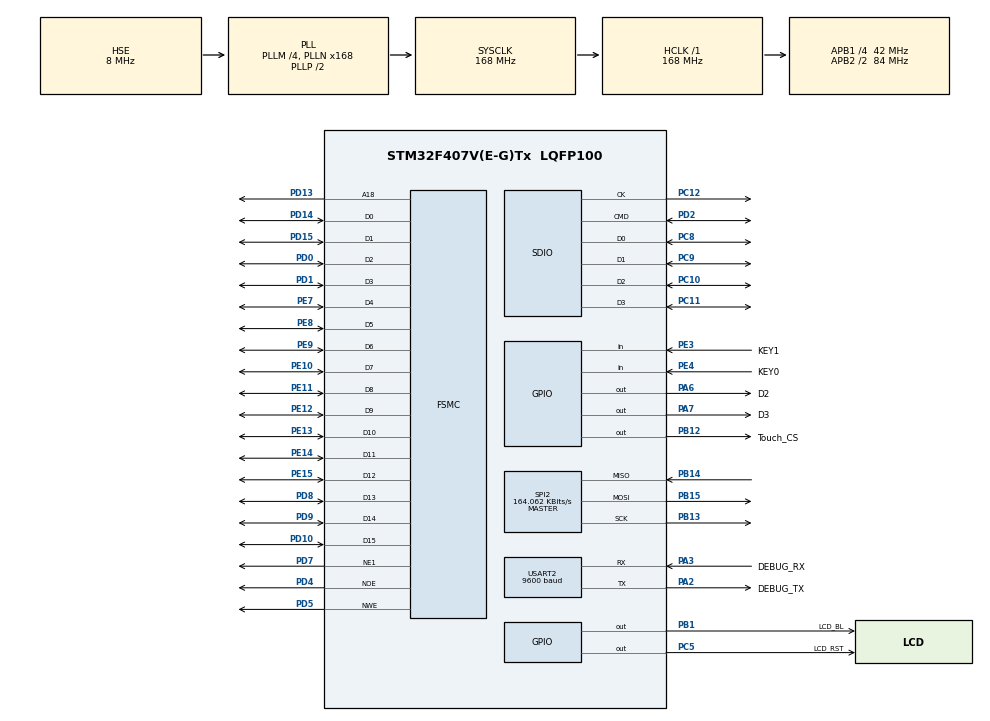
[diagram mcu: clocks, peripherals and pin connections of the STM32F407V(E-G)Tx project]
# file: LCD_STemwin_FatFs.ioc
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FATFS.USE_DMA_CODE_SD=0
FATFS._CODE_PAGE=936
FATFS._USE_FASTSEEK=0
FATFS._USE_FIND=0
FATFS._USE_LFN=2
FSMC.AddressSetupTime1=4
FSMC.BusTurnAroundDuration1=0
FSMC.DataSetupTime1=10
Mcu.Family=STM32F4
Mcu.Name=STM32F407V(E-G)Tx
Mcu.Package=LQFP100
NVIC.PriorityGroup=NVIC_PRIORITYGROUP_4
PA0-WKUP.Mode=SYS_WakeUp0
PA0-WKUP.Signal=SYS_WKUP
PA13.Mode=Serial_Wire
PA13.Signal=SYS_JTMS-SWDIO
PA14.Mode=Serial_Wire
PA14.Signal=SYS_JTCK-SWCLK
PA2.GPIO_Label=DEBUG_TX
PA2.Mode=Asynchronous
PA2.Signal=USART2_TX
PA3.GPIO_Label=DEBUG_RX
PA3.Mode=Asynchronous
PA3.Signal=USART2_RX
PA6.GPIO_Label=D2
PA6.GPIO_Speed=GPIO_SPEED_FREQ_VERY_HIGH
PA6.Signal=GPIO_Output
PA7.GPIO_Label=D3
PA7.GPIO_Speed=GPIO_SPEED_FREQ_VERY_HIGH
PA7.Signal=GPIO_Output
PB1.GPIO_Label=LCD_BL
PB1.GPIO_Speed=GPIO_SPEED_FREQ_VERY_HIGH
PB1.Signal=GPIO_Output
PB12.GPIO_Label=Touch_CS
PB12.GPIO_Speed=GPIO_SPEED_FREQ_VERY_HIGH
PB12.Signal=GPIO_Output
PB13.Mode=Full_Duplex_Master
PB13.Signal=SPI2_SCK
PB14.Mode=Full_Duplex_Master
PB14.Signal=SPI2_MISO
PB15.Mode=Full_Duplex_Master
PB15.Signal=SPI2_MOSI
PC10.Mode=SD_4_bits_Wide_bus
PC10.Signal=SDIO_D2
PC11.Mode=SD_4_bits_Wide_bus
PC11.Signal=SDIO_D3
PC12.Mode=SD_4_bits_Wide_bus
PC12.Signal=SDIO_CK
PC14-OSC32_IN.Mode=LSE-External-Oscillator
PC14-OSC32_IN.Signal=RCC_OSC32_IN
PC15-OSC32_OUT.Mode=LSE-External-Oscillator
PC15-OSC32_OUT.Signal=RCC_OSC32_OUT
PC5.GPIO_Label=LCD_RST
PC5.GPIO_Speed=GPIO_SPEED_FREQ_VERY_HIGH
PC5.Signal=GPIO_Output
PC8.Mode=SD_4_bits_Wide_bus
PC8.Signal=SDIO_D0
PC9.Mode=SD_4_bits_Wide_bus
PC9.Signal=SDIO_D1
PD0.Mode=16b-d1
PD0.Signal=FSMC_D2
PD1.Mode=16b-d1
PD1.Signal=FSMC_D3
PD10.Mode=16b-d1
PD10.Signal=FSMC_D15
PD13.Mode=A18_1
PD13.Signal=FSMC_A18
PD14.Mode=16b-d1
PD14.Signal=FSMC_D0
PD15.Mode=16b-d1
PD15.Signal=FSMC_D1
PD2.Mode=SD_4_bits_Wide_bus
PD2.Signal=SDIO_CMD
PD4.Mode=Lcd1
PD4.Signal=FSMC_NOE
PD5.Mode=Lcd1
PD5.Signal=FSMC_NWE
PD7.Mode=NorPsramChipSelect1_1
PD7.Signal=FSMC_NE1
PD8.Mode=16b-d1
PD8.Signal=FSMC_D13
PD9.Mode=16b-d1
PD9.Signal=FSMC_D14
PE10.Mode=16b-d1
PE10.Signal=FSMC_D7
PE11.Mode=16b-d1
PE11.Signal=FSMC_D8
PE12.Mode=16b-d1
PE12.Signal=FSMC_D9
PE13.Mode=16b-d1
PE13.Signal=FSMC_D10
PE14.Mode=16b-d1
PE14.Signal=FSMC_D11
PE15.Mode=16b-d1
PE15.Signal=FSMC_D12
PE3.GPIO_Label=KEY1
PE3.Signal=GPIO_Input
PE4.GPIO_Label=KEY0
PE4.Signal=GPIO_Input
PE7.Mode=16b-d1
PE7.Signal=FSMC_D4
PE8.Mode=16b-d1
PE8.Signal=FSMC_D5
PE9.Mode=16b-d1
PE9.Signal=FSMC_D6
PH0-OSC_IN.Mode=HSE-External-Oscillator
PH0-OSC_IN.Signal=RCC_OSC_IN
PH1-OSC_OUT.Mode=HSE-External-Oscillator
PH1-OSC_OUT.Signal=RCC_OSC_OUT
ProjectManager.HeapSize=0x1000
ProjectManager.StackSize=0x1200
ProjectManager.TargetToolchain=MDK-ARM V5
RCC.48MHZClocksFreq_Value=48000000
RCC.AHBFreq_Value=168000000
RCC.APB1CLKDivider=RCC_HCLK_DIV4
RCC.APB1Freq_Value=42000000
RCC.APB1TimFreq_Value=84000000
RCC.APB2CLKDivider=RCC_HCLK_DIV2
RCC.APB2Freq_Value=84000000
RCC.APB2TimFreq_Value=168000000
RCC.CortexFreq_Value=168000000
RCC.EnbaleCSS=true
RCC.HCLKFreq_Value=168000000
RCC.HSE_VALUE=8000000
RCC.HSI_VALUE=16000000
RCC.PLLM=4
RCC.PLLN=168
RCC.PLLQ=7
RCC.PLLSourceVirtual=RCC_PLLSOURCE_HSE
RCC.SYSCLKFreq_VALUE=168000000
RCC.SYSCLKSource=RCC_SYSCLKSOURCE_PLLCLK
RCC.VCOOutputFreq_Value=336000000
SPI2.BaudRatePrescaler=SPI_BAUDRATEPRESCALER_256
SPI2.CLKPhase=SPI_PHASE_1EDGE
SPI2.CLKPolarity=SPI_POLARITY_LOW
SPI2.CalculateBaudRate=164.062 KBits/s
SPI2.Direction=SPI_DIRECTION_2LINES
SPI2.Mode=SPI_MODE_MASTER
SPI2.VirtualType=VM_MASTER
USART2.BaudRate=9600
USART2.VirtualMode=VM_ASYNC
VP_CRC_VS_CRC.Mode=CRC_Activate
VP_FATFS_VS_SDIO.Mode=SDIO
VP_LIBJPEG_VS_JPEGLIB.Mode=Enabled
board=LCD_Drive

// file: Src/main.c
/**
  ******************************************************************************
  * @file           : main.c
  * @brief          : Main program body
  ******************************************************************************
  * This notice applies to any and all portions of this file
  * that are not between comment pairs USER CODE BEGIN and
  * USER CODE END. Other portions of this file, whether
  * inserted by the user or by software development tools
  * are owned by their respective copyright owners.
  *
  * Copyright (c) 2018 STMicroelectronics International N.V.
  * All rights reserved.
  *
  * Redistribution and use in source and binary forms, with or without
  * modification, are permitted, provided that the following conditions are met:
  *
  * 1. Redistribution of source code must retain the above copyright notice,
  *    this list of conditions and the following disclaimer.
  * 2. Redistributions in binary form must reproduce the above copyright notice,
  *    this list of conditions and the following disclaimer in the documentation
  *    and/or other materials provided with the distribution.
  * 3. Neither the name of STMicroelectronics nor the names of other
  *    contributors to this software may be used to endorse or promote products
  *    derived from this software without specific written permission.
  * 4. This software, including modifications and/or derivative works of this
  *    software, must execute solely and exclusively on microcontroller or
  *    microprocessor devices manufactured by or for STMicroelectronics.
  * 5. Redistribution and use of this software other than as permitted under
  *    this license is void and will automatically terminate your rights under
  *    this license.
  *
  * THIS SOFTWARE IS PROVIDED BY STMICROELECTRONICS AND CONTRIBUTORS "AS IS"
  * AND ANY EXPRESS, IMPLIED OR STATUTORY WARRANTIES, INCLUDING, BUT NOT
  * LIMITED TO, THE IMPLIED WARRANTIES OF MERCHANTABILITY, FITNESS FOR A
  * PARTICULAR PURPOSE AND NON-INFRINGEMENT OF THIRD PARTY INTELLECTUAL PROPERTY
  * RIGHTS ARE DISCLAIMED TO THE FULLEST EXTENT PERMITTED BY LAW. IN NO EVENT
  * SHALL STMICROELECTRONICS OR CONTRIBUTORS BE LIABLE FOR ANY DIRECT, INDIRECT,
  * INCIDENTAL, SPECIAL, EXEMPLARY, OR CONSEQUENTIAL DAMAGES (INCLUDING, BUT NOT
  * LIMITED TO, PROCUREMENT OF SUBSTITUTE GOODS OR SERVICES; LOSS OF USE, DATA,
  * OR PROFITS; OR BUSINESS INTERRUPTION) HOWEVER CAUSED AND ON ANY THEORY OF
  * LIABILITY, WHETHER IN CONTRACT, STRICT LIABILITY, OR TORT (INCLUDING
  * NEGLIGENCE OR OTHERWISE) ARISING IN ANY WAY OUT OF THE USE OF THIS SOFTWARE,
  * EVEN IF ADVISED OF THE POSSIBILITY OF SUCH DAMAGE.
  *
  ******************************************************************************
  */
#include "main.h"
#include "stm32f4xx_hal.h"
#include "fatfs.h"
#include "libjpeg.h"

/* USER CODE BEGIN Includes */
#include "GUI.h"
#include "DIALOG.h"
/* USER CODE END Includes */

CRC_HandleTypeDef hcrc;

SD_HandleTypeDef hsd;

SPI_HandleTypeDef hspi2;

UART_HandleTypeDef huart2;

SRAM_HandleTypeDef hsram1;

/* USER CODE BEGIN PV */
/* Private variables ---------------------------------------------------------*/
UINT bw;

GUI_FONT    MS_Light16;
GUI_XBF_DATA       MS_Light16_Data;
GUI_FONT    Song8;
GUI_XBF_DATA       Song8_Data;

GUI_HWIN Temp;

GUI_MOVIE_HANDLE hMovie;
int Play_res=0;
/* USER CODE END PV */

void SystemClock_Config(void);
static void MX_GPIO_Init(void);
void MX_USART2_UART_Init(void);
void MX_FSMC_Init(void);
void MX_CRC_Init(void);
void MX_SPI2_Init(void);
void MX_SDIO_SD_Init(void);

/* USER CODE BEGIN PFP */
/* Private function prototypes -----------------------------------------------*/
WM_HWIN CreateDeskTop(void);
WM_HWIN CalWindow(void);

static int _cbGetData(U32 Off, uint16_t NumBytes, void * pVoid, void * pBuffer) ;
int _GetData(void * p, const uint8_t ** ppData, unsigned NumBytes, U32 Off);
void _cbNotify(GUI_MOVIE_HANDLE hMovie, int Notification, U32 CurrentFrame);
void _WriteByte2File(uint8_t Data, void * p)
{
	res = f_write (p, &Data, 1, &bw);
}

/* USER CODE END PFP */

int main(void)
{

  /* MCU Configuration----------------------------------------------------------*/

  /* Reset of all peripherals, Initializes the Flash interface and the Systick. */
  HAL_Init();

  /* Configure the system clock */
  SystemClock_Config();

  /* Initialize all configured peripherals */
  MX_GPIO_Init();
  MX_USART2_UART_Init();
  MX_FSMC_Init();
  MX_CRC_Init();
  MX_SPI2_Init();
  MX_LIBJPEG_Init();
  /* USER CODE BEGIN 2 */
	 MX_SDIO_SD_Init();
  BSP_SD_Init();
 	MX_FATFS_Init();
	res=f_mount(&SDFatFS,(TCHAR*)SDPath,0);
	if(res!=FR_OK)
	{
	Error_Handler();
	}

	 GUI_Init();
//  GUI_SetBkColor(GUI_BLUE);
//	GUI_Clear();
 	GUI_DispStringHCenterAt( GUI_GetVersionString() , GUI_GetScreenSizeX()/2, GUI_GetScreenSizeY()/2);
	/*
	GUI_UC_SetEncodeUTF8();

	res=f_open(&SDFile,"MSLight16_4bpp.xbf",FA_OPEN_EXISTING|FA_OPEN_ALWAYS|FA_READ);
	if(res!=FR_OK)
	{
	Error_Handler();
	}
  GUI_XBF_CreateFont(&MS_Light16,&MS_Light16_Data,GUI_XBF_TYPE_PROP_AA4_EXT,_cbGetData,&SDFile);

  GUI_SetFont(&MS_Light16);
	GUI_DispStringAt("微软雅黑十六号字�?",GUI_GetScreenSizeX()/2, GUI_GetScreenSizeY()/2-20);
	f_close(&SDFile);

	res=f_open(&SDFile,"Song8_2bpp.xbf",FA_OPEN_EXISTING|FA_OPEN_ALWAYS|FA_READ);
	if(res!=FR_OK)
	{
	Error_Handler();
	}
  GUI_XBF_CreateFont(&Song8,&Song8_Data,GUI_XBF_TYPE_PROP_AA2_EXT,_cbGetData,&SDFile);

  GUI_SetFont(&Song8);
	GUI_DispStringAt("宋体八号字体",GUI_GetScreenSizeX()/2, GUI_GetScreenSizeY()/2-40);
	f_close(&SDFile);

	*/
	//GUI_XBF_DeleteFont(&MS_Light16);

//	res=f_open(&SDFile,"1.bmp",FA_OPEN_EXISTING|FA_OPEN_ALWAYS|FA_READ);
//	if(res!=FR_OK)
//	{
//	Error_Handler();
//	}
//	GUI_BMP_DrawEx(_GetData,&SDFile,0,0);
//	f_close(&SDFile);

//	CreateDeskTop();
//  Temp=CalWindow();
  if (GUI_ALLOC_GetNumFreeBytes() < 1024*80) {
    Error_Handler();
  }
	 if(f_open(&SDFile, "TWD.emf", FA_OPEN_EXISTING | FA_READ) == FR_OK)
  {
	 hMovie=GUI_MOVIE_CreateEx(_GetData,&SDFile,_cbNotify);
		GUI_MOVIE_SetPeriod (hMovie, 40);
		}
		Play_res=GUI_MOVIE_Show(hMovie, 160, 120, 1);
//	 GUI_MOVIE_DrawFrame(hMovie,1,0,0);
  /* USER CODE END 2 */

  /* Infinite loop */
  while (1)
  {

  /* USER CODE BEGIN 3 */
//	 GUI_Exec();
//		GUI_TOUCH_Exec();
    GUI_Exec();
    GUI_Delay(1);

//		GUI_EndDialog(Temp,-1);
  }
  /* USER CODE END 3 */

}

void SystemClock_Config(void)
{

  RCC_OscInitTypeDef RCC_OscInitStruct;
  RCC_ClkInitTypeDef RCC_ClkInitStruct;

    /**Configure the main internal regulator output voltage
    */
  __HAL_RCC_PWR_CLK_ENABLE();

  __HAL_PWR_VOLTAGESCALING_CONFIG(PWR_REGULATOR_VOLTAGE_SCALE1);

    /**Initializes the CPU, AHB and APB busses clocks
    */
  RCC_OscInitStruct.OscillatorType = RCC_OSCILLATORTYPE_HSE;
  RCC_OscInitStruct.HSEState = RCC_HSE_ON;
  RCC_OscInitStruct.PLL.PLLState = RCC_PLL_ON;
  RCC_OscInitStruct.PLL.PLLSource = RCC_PLLSOURCE_HSE;
  RCC_OscInitStruct.PLL.PLLM = 4;
  RCC_OscInitStruct.PLL.PLLN = 168;
  RCC_OscInitStruct.PLL.PLLP = RCC_PLLP_DIV2;
  RCC_OscInitStruct.PLL.PLLQ = 7;
  if (HAL_RCC_OscConfig(&RCC_OscInitStruct) != HAL_OK)
  {
    _Error_Handler(__FILE__, __LINE__);
  }

    /**Initializes the CPU, AHB and APB busses clocks
    */
  RCC_ClkInitStruct.ClockType = RCC_CLOCKTYPE_HCLK|RCC_CLOCKTYPE_SYSCLK
                              |RCC_CLOCKTYPE_PCLK1|RCC_CLOCKTYPE_PCLK2;
  RCC_ClkInitStruct.SYSCLKSource = RCC_SYSCLKSOURCE_PLLCLK;
  RCC_ClkInitStruct.AHBCLKDivider = RCC_SYSCLK_DIV1;
  RCC_ClkInitStruct.APB1CLKDivider = RCC_HCLK_DIV4;
  RCC_ClkInitStruct.APB2CLKDivider = RCC_HCLK_DIV2;

  if (HAL_RCC_ClockConfig(&RCC_ClkInitStruct, FLASH_LATENCY_5) != HAL_OK)
  {
    _Error_Handler(__FILE__, __LINE__);
  }

    /**Enables the Clock Security System
    */
  HAL_RCC_EnableCSS();

    /**Configure the Systick interrupt time
    */
  HAL_SYSTICK_Config(HAL_RCC_GetHCLKFreq()/1000);

    /**Configure the Systick
    */
  HAL_SYSTICK_CLKSourceConfig(SYSTICK_CLKSOURCE_HCLK);

  /* SysTick_IRQn interrupt configuration */
  HAL_NVIC_SetPriority(SysTick_IRQn, 0, 0);
}

/* CRC init function */
void MX_CRC_Init(void)
{

  hcrc.Instance = CRC;
  if (HAL_CRC_Init(&hcrc) != HAL_OK)
  {
    _Error_Handler(__FILE__, __LINE__);
  }

}

/* SDIO init function */
void MX_SDIO_SD_Init(void)
{

  hsd.Instance = SDIO;
  hsd.Init.ClockEdge = SDIO_CLOCK_EDGE_RISING;
  hsd.Init.ClockBypass = SDIO_CLOCK_BYPASS_DISABLE;
  hsd.Init.ClockPowerSave = SDIO_CLOCK_POWER_SAVE_DISABLE;
  hsd.Init.BusWide = SDIO_BUS_WIDE_1B;
  hsd.Init.HardwareFlowControl = SDIO_HARDWARE_FLOW_CONTROL_DISABLE;
  hsd.Init.ClockDiv = 0;

}

/* SPI2 init function */
void MX_SPI2_Init(void)
{

  /* SPI2 parameter configuration*/
  hspi2.Instance = SPI2;
  hspi2.Init.Mode = SPI_MODE_MASTER;
  hspi2.Init.Direction = SPI_DIRECTION_2LINES;
  hspi2.Init.DataSize = SPI_DATASIZE_8BIT;
  hspi2.Init.CLKPolarity = SPI_POLARITY_LOW;
  hspi2.Init.CLKPhase = SPI_PHASE_1EDGE;
  hspi2.Init.NSS = SPI_NSS_SOFT;
  hspi2.Init.BaudRatePrescaler = SPI_BAUDRATEPRESCALER_256;
  hspi2.Init.FirstBit = SPI_FIRSTBIT_MSB;
  hspi2.Init.TIMode = SPI_TIMODE_DISABLE;
  hspi2.Init.CRCCalculation = SPI_CRCCALCULATION_DISABLE;
  hspi2.Init.CRCPolynomial = 10;
  if (HAL_SPI_Init(&hspi2) != HAL_OK)
  {
    _Error_Handler(__FILE__, __LINE__);
  }

}

/* USART2 init function */
void MX_USART2_UART_Init(void)
{

  huart2.Instance = USART2;
  huart2.Init.BaudRate = 9600;
  huart2.Init.WordLength = UART_WORDLENGTH_8B;
  huart2.Init.StopBits = UART_STOPBITS_1;
  huart2.Init.Parity = UART_PARITY_NONE;
  huart2.Init.Mode = UART_MODE_TX_RX;
  huart2.Init.HwFlowCtl = UART_HWCONTROL_NONE;
  huart2.Init.OverSampling = UART_OVERSAMPLING_16;
  if (HAL_UART_Init(&huart2) != HAL_OK)
  {
    _Error_Handler(__FILE__, __LINE__);
  }

}

/** Configure pins as
        * Analog
        * Input
        * Output
        * EVENT_OUT
        * EXTI
*/
static void MX_GPIO_Init(void)
{

  GPIO_InitTypeDef GPIO_InitStruct;

  /* GPIO Ports Clock Enable */
  __HAL_RCC_GPIOE_CLK_ENABLE();
  __HAL_RCC_GPIOC_CLK_ENABLE();
  __HAL_RCC_GPIOH_CLK_ENABLE();
  __HAL_RCC_GPIOA_CLK_ENABLE();
  __HAL_RCC_GPIOB_CLK_ENABLE();
  __HAL_RCC_GPIOD_CLK_ENABLE();

  /*Configure GPIO pin Output Level */
  HAL_GPIO_WritePin(GPIOA, D2_Pin|D3_Pin, GPIO_PIN_RESET);

  /*Configure GPIO pin Output Level */
  HAL_GPIO_WritePin(LCD_RST_GPIO_Port, LCD_RST_Pin, GPIO_PIN_RESET);

  /*Configure GPIO pin Output Level */
  HAL_GPIO_WritePin(GPIOB, LCD_BL_Pin|Touch_CS_Pin, GPIO_PIN_RESET);

  /*Configure GPIO pins : KEY1_Pin KEY0_Pin */
  GPIO_InitStruct.Pin = KEY1_Pin|KEY0_Pin;
  GPIO_InitStruct.Mode = GPIO_MODE_INPUT;
  GPIO_InitStruct.Pull = GPIO_NOPULL;
  HAL_GPIO_Init(GPIOE, &GPIO_InitStruct);

  /*Configure GPIO pins : D2_Pin D3_Pin */
  GPIO_InitStruct.Pin = D2_Pin|D3_Pin;
  GPIO_InitStruct.Mode = GPIO_MODE_OUTPUT_PP;
  GPIO_InitStruct.Pull = GPIO_NOPULL;
  GPIO_InitStruct.Speed = GPIO_SPEED_FREQ_VERY_HIGH;
  HAL_GPIO_Init(GPIOA, &GPIO_InitStruct);

  /*Configure GPIO pin : LCD_RST_Pin */
  GPIO_InitStruct.Pin = LCD_RST_Pin;
  GPIO_InitStruct.Mode = GPIO_MODE_OUTPUT_PP;
  GPIO_InitStruct.Pull = GPIO_NOPULL;
  GPIO_InitStruct.Speed = GPIO_SPEED_FREQ_VERY_HIGH;
  HAL_GPIO_Init(LCD_RST_GPIO_Port, &GPIO_InitStruct);

  /*Configure GPIO pins : LCD_BL_Pin Touch_CS_Pin */
  GPIO_InitStruct.Pin = LCD_BL_Pin|Touch_CS_Pin;
  GPIO_InitStruct.Mode = GPIO_MODE_OUTPUT_PP;
  GPIO_InitStruct.Pull = GPIO_NOPULL;
  GPIO_InitStruct.Speed = GPIO_SPEED_FREQ_VERY_HIGH;
  HAL_GPIO_Init(GPIOB, &GPIO_InitStruct);

}

/* FSMC initialization function */
static void MX_FSMC_Init(void)
{
  FSMC_NORSRAM_TimingTypeDef Timing;

  /** Perform the SRAM1 memory initialization sequence
  */
  hsram1.Instance = FSMC_NORSRAM_DEVICE;
  hsram1.Extended = FSMC_NORSRAM_EXTENDED_DEVICE;
  /* hsram1.Init */
  hsram1.Init.NSBank = FSMC_NORSRAM_BANK1;
  hsram1.Init.DataAddressMux = FSMC_DATA_ADDRESS_MUX_DISABLE;
  hsram1.Init.MemoryType = FSMC_MEMORY_TYPE_SRAM;
  hsram1.Init.MemoryDataWidth = FSMC_NORSRAM_MEM_BUS_WIDTH_16;
  hsram1.Init.BurstAccessMode = FSMC_BURST_ACCESS_MODE_DISABLE;
  hsram1.Init.WaitSignalPolarity = FSMC_WAIT_SIGNAL_POLARITY_LOW;
  hsram1.Init.WrapMode = FSMC_WRAP_MODE_DISABLE;
  hsram1.Init.WaitSignalActive = FSMC_WAIT_TIMING_BEFORE_WS;
  hsram1.Init.WriteOperation = FSMC_WRITE_OPERATION_ENABLE;
  hsram1.Init.WaitSignal = FSMC_WAIT_SIGNAL_DISABLE;
  hsram1.Init.ExtendedMode = FSMC_EXTENDED_MODE_DISABLE;
  hsram1.Init.AsynchronousWait = FSMC_ASYNCHRONOUS_WAIT_DISABLE;
  hsram1.Init.WriteBurst = FSMC_WRITE_BURST_DISABLE;
  hsram1.Init.PageSize = FSMC_PAGE_SIZE_NONE;
  /* Timing */
  Timing.AddressSetupTime = 4;
  Timing.AddressHoldTime = 15;
  Timing.DataSetupTime = 10;
  Timing.BusTurnAroundDuration = 0;
  Timing.CLKDivision = 16;
  Timing.DataLatency = 17;
  Timing.AccessMode = FSMC_ACCESS_MODE_A;
  /* ExtTiming */

  if (HAL_SRAM_Init(&hsram1, &Timing, NULL) != HAL_OK)
  {
    _Error_Handler(__FILE__, __LINE__);
  }

}

/* USER CODE BEGIN 4 */
static int _cbGetData(U32 Off, uint16_t NumBytes, void * pVoid, void * pBuffer)
{
	FIL * Fontfile;
  Fontfile=(FIL *)pVoid;

	res=f_lseek(Fontfile,Off);
	if(res!=FR_OK)
	{
	return 1;
	}

	res=f_read(Fontfile,pBuffer,NumBytes,&bw);
  if(res!=FR_OK)
	{
	return 1;
	}
	return 0;
}

int _GetData(void * p, const uint8_t ** ppData, unsigned NumBytes, U32 Off)
{
static char acBuffer[320*4];
FIL * BMPFile;
UINT NumBytesRead;
BMPFile = (FIL *)p;
//
// Check buffer size
//
if (NumBytes > sizeof(acBuffer)) {
NumBytes = sizeof(acBuffer);
}
//
// Set file pointer to the required position
//
res=f_lseek(BMPFile, Off);
//
// Read data into buffer
//
res=f_read(BMPFile, acBuffer, NumBytes,&NumBytesRead);

//
// Set data pointer to the beginning of the buffer
//
*ppData = (const uint8_t*)acBuffer;
//
// Return number of available bytes
//
return NumBytesRead;
}

void _cbNotify(GUI_MOVIE_HANDLE hMovie, int Notification, U32 CurrentFrame)
{
  WM_HWIN  hItem;
  switch (Notification)
  {
		case GUI_MOVIE_NOTIFICATION_PREDRAW:
    GUI_MULTIBUF_Begin();
    break;
  case GUI_MOVIE_NOTIFICATION_POSTDRAW:
    GUI_MULTIBUF_End();
    break;
  case GUI_MOVIE_NOTIFICATION_STOP:
    break;
  case GUI_MOVIE_NOTIFICATION_DELETE:
    break;
  }
}
/* USER CODE END 4 */

void _Error_Handler(char *file, int line)
{
  while(1)
  {
  }
}

/************************ (C) COPYRIGHT STMicroelectronics *****END OF FILE****/
